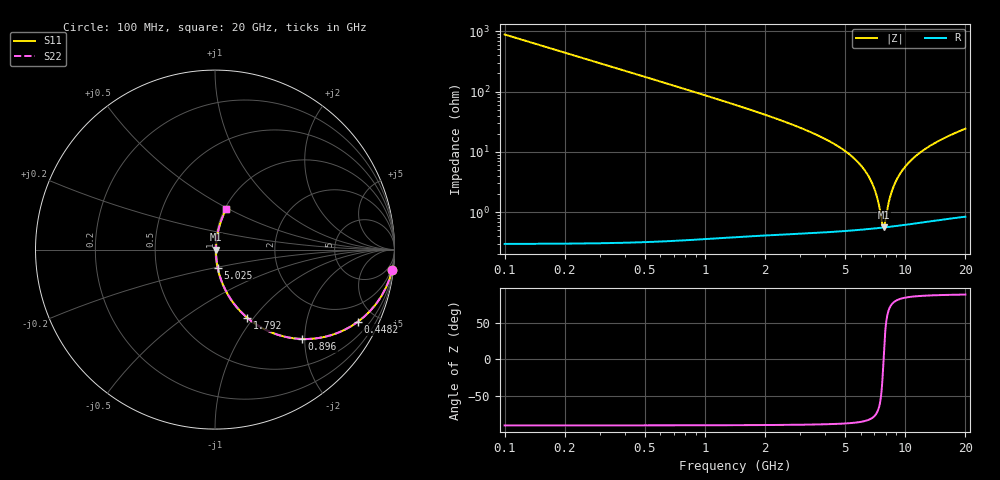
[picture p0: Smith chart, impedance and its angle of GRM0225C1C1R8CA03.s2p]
!Murata Part Number: GRM0225C1C1R8CA03
!These Parameters are Measured in Series Mode Connection
!Data Generated on Mar 30, 2021
!  o--ll--o
!Port1  Port2
!  o------o
!Operation Temp=25[degC], DC Bias Voltage=0[V]
!Freq. Start=100[MHz] Stop=20[GHz] 401[Steps]
# Hz S RI R 50
!Freq.(Hz) S11(Real) S11(Imag) S21(Real) S21(Imag) S12(Real) S12(Imag) S22(Real) S22(Imag)
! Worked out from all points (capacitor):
!   401 points, 100 MHz to 20 GHz, reference 50 ohm
!   read as one part in series: C = 1.8 pF near 199.5 MHz
!   lowest |Z| = 558 mohm at 7.811 GHz (marker M1)
!   series resonance near 7.805 GHz, so ESL is about 230 pH
!   S11 on the Smith chart (normalised r, x): 100 MHz: 1, -18; 448.2 MHz: 1.01, -3.93; 896 MHz: 1.01, -1.95; 1.792 GHz: 1.01, -0.93; 5.025 GHz: 1.01, -0.21; 20 GHz: 1.02, +0.48
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1e8  0.9873 -0.1117  0.0127 0.1117  0.0127 0.1117  0.9873 -0.1117
2.99e8  0.8968 -0.3037  0.1032 0.3037  0.1032 0.3037  0.8968 -0.3037
4.4825e8  0.794 -0.4036  0.206 0.4036  0.206 0.4036  0.794 -0.4036
8.96e8  0.4864 -0.498  0.5136 0.498  0.5136 0.498  0.4864 -0.498
1.294e9  0.3069 -0.4584  0.6931 0.4584  0.6931 0.4584  0.3069 -0.4584
1.7915e9  0.181 -0.3808  0.819 0.3808  0.819 0.3808  0.181 -0.3808
3.43325e9  0.0451 -0.1969  0.9549 0.1969  0.9549 0.1969  0.0451 -0.1969
5.02525e9  0.0151 -0.1006  0.9849 0.1006  0.9849 0.1006  0.0151 -0.1006
6.02025e9  0.00853 -0.0584  0.9915 0.0584  0.9915 0.0584  0.00853 -0.0584
6.7665e9  0.0063 -0.0319  0.9937 0.0319  0.9937 0.0319  0.0063 -0.0319
7.21425e9  0.0057 -0.0176  0.9943 0.0176  0.9943 0.0176  0.0057 -0.0176
7.71175e9  0.00552 -0.00267  0.9945 0.00267  0.9945 0.00267  0.00552 -0.00267
7.81125e9  0.00554 0.000183  0.9945 -0.000183  0.9945 -0.000183  0.00554 0.000183
7.91075e9  0.00558 0.003  0.9944 -0.003  0.9944 -0.003  0.00558 0.003
8.30875e9  0.00587 0.0139  0.9941 -0.0139  0.9941 -0.0139  0.00587 0.0139
8.70675e9  0.00638 0.0244  0.9936 -0.0244  0.9936 -0.0244  0.00638 0.0244
9.30375e9  0.00749 0.0392  0.9925 -0.0392  0.9925 -0.0392  0.00749 0.0392
1.005e10  0.00937 0.0565  0.9906 -0.0565  0.9906 -0.0565  0.00937 0.0565
1.1443e10  0.014 0.0862  0.986 -0.0862  0.986 -0.0862  0.014 0.0862
1.338325e10  0.0225 0.1231  0.9775 -0.1231  0.9775 -0.1231  0.0225 0.1231
1.67165e10  0.0408 0.1782  0.9592 -0.1782  0.9592 -0.1782  0.0408 0.1782
2e10  0.0625 0.2253  0.9375 -0.2253  0.9375 -0.2253  0.0625 0.2253
